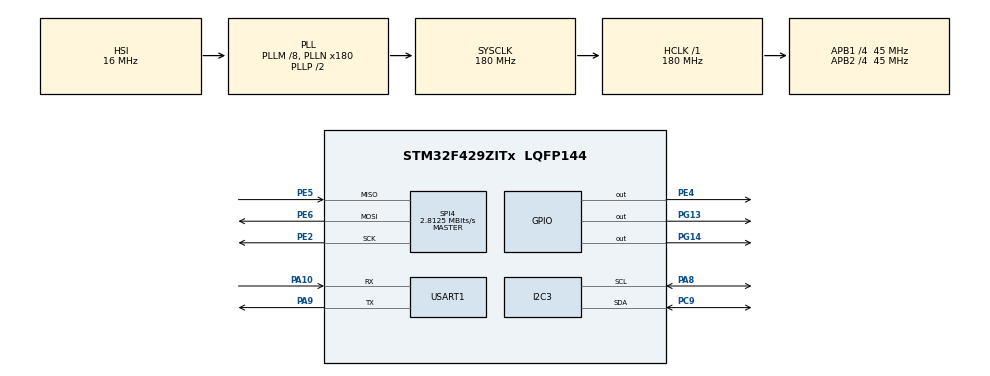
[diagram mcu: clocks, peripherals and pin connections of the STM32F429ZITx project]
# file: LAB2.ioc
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I2C3.I2C_Mode=I2C_Fast
Mcu.Family=STM32F4
Mcu.Name=STM32F429ZITx
Mcu.Package=LQFP144
NVIC.PriorityGroup=NVIC_PRIORITYGROUP_4
NVIC.TIM6_DAC_IRQn=true\:0\:0\:false\:false\:true\:true\:true\:true
NVIC.USART1_IRQn=true\:0\:0\:false\:false\:true\:true\:true\:true
PA10.Mode=Asynchronous
PA10.Signal=USART1_RX
PA8.Mode=I2C
PA8.Signal=I2C3_SCL
PA9.Mode=Asynchronous
PA9.Signal=USART1_TX
PC9.Mode=I2C
PC9.Signal=I2C3_SDA
PE2.Mode=Full_Duplex_Master
PE2.Signal=SPI4_SCK
PE4.Signal=GPIO_Output
PE5.Mode=Full_Duplex_Master
PE5.Signal=SPI4_MISO
PE6.Mode=Full_Duplex_Master
PE6.Signal=SPI4_MOSI
PG13.Signal=GPIO_Output
PG14.Signal=GPIO_Output
PH0/OSC_IN.Mode=HSE-External-Oscillator
PH0/OSC_IN.Signal=RCC_OSC_IN
PH1/OSC_OUT.Mode=HSE-External-Oscillator
PH1/OSC_OUT.Signal=RCC_OSC_OUT
ProjectManager.HeapSize=0x200
ProjectManager.StackSize=0x400
ProjectManager.TargetToolchain=STM32CubeIDE
RCC.48MHZClocksFreq_Value=90000000
RCC.AHBFreq_Value=180000000
RCC.APB1CLKDivider=RCC_HCLK_DIV4
RCC.APB1Freq_Value=45000000
RCC.APB1TimFreq_Value=90000000
RCC.APB2CLKDivider=RCC_HCLK_DIV4
RCC.APB2Freq_Value=45000000
RCC.APB2TimFreq_Value=90000000
RCC.CortexFreq_Value=180000000
RCC.HCLKFreq_Value=180000000
RCC.HSE_VALUE=8000000
RCC.HSI_VALUE=16000000
RCC.LSE_VALUE=32768
RCC.PLLM=8
RCC.PLLN=180
RCC.SYSCLKFreq_VALUE=180000000
RCC.SYSCLKSource=RCC_SYSCLKSOURCE_PLLCLK
RCC.VCOOutputFreq_Value=360000000
SPI4.BaudRatePrescaler=SPI_BAUDRATEPRESCALER_16
SPI4.CalculateBaudRate=2.8125 MBits/s
SPI4.Direction=SPI_DIRECTION_2LINES
SPI4.Mode=SPI_MODE_MASTER
SPI4.VirtualType=VM_MASTER
TIM6.Period=99
TIM6.Prescaler=89
USART1.VirtualMode=VM_ASYNC
VP_TIM6_VS_ClockSourceINT.Mode=Enable_Timer
board=custom

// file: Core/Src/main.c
/* USER CODE BEGIN Header */
/**
  ******************************************************************************
  * @file           : main.c
  * @brief          : Main program body
  ******************************************************************************
  * @attention
  *
  * Copyright (c) 2025 STMicroelectronics.
  * All rights reserved.
  *
  * This software is licensed under terms that can be found in the LICENSE file
  * in the root directory of this software component.
  * If no LICENSE file comes with this software, it is provided AS-IS.
  *
  ******************************************************************************
  */
/* USER CODE END Header */
#include "main.h"

I2C_HandleTypeDef hi2c3;

SPI_HandleTypeDef hspi4;

TIM_HandleTypeDef htim6;

UART_HandleTypeDef huart1;

/* USER CODE BEGIN PV */
int time6_count = 0;
int data_receive_flag = 0;
char cmdBuffer[100];
char recByte;
int cmdIndex = 0;

/* USER CODE END PV */

void SystemClock_Config(void);
static void MX_GPIO_Init(void);
static void MX_I2C3_Init(void);
static void MX_SPI4_Init(void);
static void MX_USART1_UART_Init(void);
static void MX_TIM6_Init(void);

/* USER CODE BEGIN 0 */

struct Time{
uint8_t sec;
uint8_t min;
uint8_t hour;
uint8_t weekday;
uint8_t day;
uint8_t month;
uint8_t year;
};

typedef struct Time Time;
//

void SetTime(Time timeSet){
	HAL_I2C_Mem_Write(&hi2c3, 0xD0, 0, 1, (uint8_t *)&timeSet, 7, 1000);
}

Time GetTime(){
	Time timeGet;
	HAL_I2C_Mem_Read(&hi2c3, 0xD1, 0, 1, (uint8_t *)&timeGet, 7, 1000);
	return timeGet;
}

void DisplayCardID(uint8_t *CardID){
	char buff[100];
	memset(buff,0,sizeof(buff));
	sprintf(buff,"%02d%02d%02d%02d%02d\n",
		CardID[0],CardID[1],CardID[2],CardID[3],CardID[4]
	);
	SH1106_GotoXY (12,10); // goto 10, 10
	SH1106_Puts(buff, &Font_11x18, 1);
	SH1106_UpdateScreen(); // update screen
}

void Display(char* str){
		SH1106_Clear();
		SH1106_GotoXY (12,10); // goto 10, 10
		SH1106_Puts(str, &Font_11x18, 1);
		SH1106_UpdateScreen(); // update screen
}

void DisplayTime(Time time){
	static char buf[100];
	memset(buf,0,sizeof(buf));
	sprintf(buf,"%02d:%02d:%02d-%02d-%02d/%02d/%02d \n",
	time.hour,
	time.min,
	time.sec,
	time.weekday,
	time.day,
	time.month,
	time.year);
	SH1106_GotoXY (12,10); // goto 10, 10
	SH1106_Puts(buf, &Font_11x18, 1);
	SH1106_UpdateScreen(); // update screen
}

void TestDS1307()
{
char buff[30];
Time Set_time, Get_Time;
Set_time.sec = 10;
Set_time.min = 30;
Set_time.hour = 7;
Set_time.day = 9;
Set_time.month = 11;
Set_time.year = 24;
Set_time.weekday = 0;
//write time to DS1307
HAL_I2C_Mem_Write(&hi2c3, 0xD0, 0, 1, (uint8_t *)&Set_time, 7, 1000);
while (1) {
//read time back
HAL_I2C_Mem_Read(&hi2c3, 0xD1, 0, 1, (uint8_t *)&Get_Time, 7, 1000);
sprintf(buff,"%02d:%02d:%02d-%02d-%02d/%02d/%02d \n",
Get_Time.hour,
Get_Time.min,
Get_Time.sec,
Get_Time.weekday,
Get_Time.day,
Get_Time.month,
Get_Time.year);
HAL_UART_Transmit(&huart1, buff, strlen(buff), 1000);
HAL_Delay(500);
}
}

void HAL_UART_RxCpltCallback(UART_HandleTypeDef *huart)
{
    if (huart->Instance == USART1) {
        if(recByte != 'm'){
        	cmdBuffer[cmdIndex++] = recByte;
        }
        else{
        	cmdBuffer[cmdIndex] = 0;
        	cmdIndex = 0;
        	data_receive_flag = 1;
        }
        HAL_UART_Receive_IT(&huart1, (uint8_t*)&recByte, 1);
    }
}

Time time1;

/* USER CODE END 0 */

int main(void)
{

  /* USER CODE BEGIN 1 */
	char logs[100][100];
	char cardList[100][100];
	int numCard = 0;
	int numLog = 0;

  /* USER CODE END 1 */

  /* MCU Configuration--------------------------------------------------------*/

  /* Reset of all peripherals, Initializes the Flash interface and the Systick. */
  HAL_Init();

  /* Configure the system clock */
  SystemClock_Config();

  /* Initialize all configured peripherals */
  MX_GPIO_Init();
  MX_I2C3_Init();
  MX_SPI4_Init();
  MX_USART1_UART_Init();
  MX_TIM6_Init();
  /* USER CODE BEGIN 2 */
//  TestDS1307();                      asdfsdf

//  char buf[100];
//  uint8_t X = 0, Y = 0;
//  SH1106_Init ();
//  sprintf (buf, "%s", "RC522 RFID");
//  SH1106_GotoXY (12,10); // goto 10, 10
//  SH1106_Puts(buf, &Font_11x18, 1);
//  SH1106_UpdateScreen(); // update screen
//  HAL_Delay(1000);

  HAL_TIM_Base_Start_IT(&htim6);

  /* USER CODE END 2 */

  /* Infinite loop */
  /* USER CODE BEGIN WHILE */
  SH1106_Init();

  Time currentTime;
  currentTime.year = 2025;
  currentTime.weekday = 00;
  currentTime.month = 05;
  currentTime.day = 17;
  currentTime.hour = 13;
  currentTime.min = 46;
  currentTime.sec = 0;

  SetTime(currentTime);

  HAL_UART_Receive_IT(&huart1, (uint8_t*)&recByte, 1);
//  TestDS1307();
  TM_MFRC522_Init();

  while (1)
  {

//	  Time timee = GetTime();
//	  char buff[1024] = {0};
//	  sprintf(buff,"%02d:%02d:%02d-%02d-%02d/%02d/%02d \n",
//			  timee.hour,
//			  timee.min,
//			  timee.sec,
//			  timee.weekday,
//			  timee.day,
//			  timee.month,
//			  timee.year);
//	  HAL_UART_Transmit(&huart1, buff, strlen(buff), 1000);
//		time1 = GetTime();
//		DisplayTime(time1);

//	  HAL_Delay(500);

//	  char buf[100] = {0};
//	  uint8_t CardID[5];
//	  HAL_Delay(500);
////	  HAL_GPIO_WritePin(GPIOE, GPIO_PIN_4, GPIO_PIN_RESET);
//	  if(TM_MFRC522_Check(CardID) == MI_OK){
//		  SH1106_Clear();
////		  sprintf(buf,"%s","Found!\r\n");
////			SH1106_GotoXY (12,10); // goto 10, 10
////			SH1106_Puts(buf, &Font_11x18, 1);
////			SH1106_UpdateScreen(); // update screen
//
//			DisplayCardID(CardID);
//
//	  }
//	  else{
//		  sprintf(buf,"%s","Not Found!\r\n");
//			SH1106_GotoXY (12,10); // goto 10, 10
//			SH1106_Puts(buf, &Font_11x18, 1);
//			SH1106_UpdateScreen(); // update screen
//	  }

//	  SH1106_Clear();
	  uint8_t CardID[5];
	  HAL_Delay(100);
	  if(TM_MFRC522_Check(CardID) == MI_OK){
		  HAL_GPIO_WritePin(GPIOG, GPIO_PIN_13, GPIO_PIN_SET);
		  char cardID[11] = {0};
		  sprintf(cardID,"%d%d%d%d%d",CardID[0],CardID[1],CardID[2],CardID[3],CardID[4]);
		  int flag = 0;
		  for(int i = 0; i< numCard;i++){
			  if(strcmp(cardList[i], cardID) == 0){ // strcmp??
				  flag = 1;
				  Display("Welcome");
				  char tmp[100] = {0};
				  struct Time time = GetTime();
				 sprintf(tmp,"%s %02d:%02d:%02d-%02d-%02d/%02d/%02d",
				 				  cardID,
				 				  time.hour,
				 				  time.min,
				 				  time.sec,
				 				  time.weekday,
				 				  time.day,
				 				  time.month,
				 				  time.year);
				 		  strcpy(logs[numLog++], tmp);
				  HAL_GPIO_WritePin(GPIOG, GPIO_PIN_14, GPIO_PIN_SET);
				  break;
			  }
		  }
		  if(flag == 0){

			  Display("Reject");
		  }

	  }
	  else{
		  HAL_GPIO_WritePin(GPIOG, GPIO_PIN_13, GPIO_PIN_RESET);
		  HAL_GPIO_WritePin(GPIOG, GPIO_PIN_14, GPIO_PIN_RESET);
	  }

	  if(data_receive_flag == 1){
		  if(strncmp(cmdBuffer,"add ",4) == 0){
			  char* cardIDAdd = cmdBuffer + 4;
			  int flag = 0;
			  char buff[100];
			  for(int i = 0; i< numCard;i++){
				  if(strcmp(cardList[i], cardIDAdd) == 0){ // strcmp??
					  flag = 1;
					  memset(buff,0,sizeof(buff));
					  sprintf(buff,"%s","Card ID has existed\n");
					  HAL_UART_Transmit(&huart1, buff, strlen(buff), 1000);
					  break;
				  }
			  }
			  if(flag == 0){
			      strcpy(cardList[numCard++], cardIDAdd);
				  memset(buff,0,sizeof(buff));
				  sprintf(buff,"%s","Add Card ID successfully!\n");
				  HAL_UART_Transmit(&huart1, buff, strlen(buff), 1000);
			  }
		  }
		  else if(strncmp(cmdBuffer,"list log",8) == 0){
			  for(int i = 0; i < numLog; i++){
				  HAL_UART_Transmit(&huart1, logs[i], strlen(logs[i]), 1000);
				  HAL_UART_Transmit(&huart1, "\n", 1, 1000);
			  }
		  }

		  data_receive_flag = 0;
	  }

    /* USER CODE END WHILE */

  }
}

void SystemClock_Config(void)
{
  RCC_OscInitTypeDef RCC_OscInitStruct = {0};
  RCC_ClkInitTypeDef RCC_ClkInitStruct = {0};

  /** Configure the main internal regulator output voltage
  */
  __HAL_RCC_PWR_CLK_ENABLE();
  __HAL_PWR_VOLTAGESCALING_CONFIG(PWR_REGULATOR_VOLTAGE_SCALE1);

  /** Initializes the RCC Oscillators according to the specified parameters
  * in the RCC_OscInitTypeDef structure.
  */
  RCC_OscInitStruct.OscillatorType = RCC_OSCILLATORTYPE_HSI;
  RCC_OscInitStruct.HSIState = RCC_HSI_ON;
  RCC_OscInitStruct.HSICalibrationValue = RCC_HSICALIBRATION_DEFAULT;
  RCC_OscInitStruct.PLL.PLLState = RCC_PLL_ON;
  RCC_OscInitStruct.PLL.PLLSource = RCC_PLLSOURCE_HSI;
  RCC_OscInitStruct.PLL.PLLM = 8;
  RCC_OscInitStruct.PLL.PLLN = 180;
  RCC_OscInitStruct.PLL.PLLP = RCC_PLLP_DIV2;
  RCC_OscInitStruct.PLL.PLLQ = 4;
  if (HAL_RCC_OscConfig(&RCC_OscInitStruct) != HAL_OK)
  {
    Error_Handler();
  }

  /** Activate the Over-Drive mode
  */
  if (HAL_PWREx_EnableOverDrive() != HAL_OK)
  {
    Error_Handler();
  }

  /** Initializes the CPU, AHB and APB buses clocks
  */
  RCC_ClkInitStruct.ClockType = RCC_CLOCKTYPE_HCLK|RCC_CLOCKTYPE_SYSCLK
                              |RCC_CLOCKTYPE_PCLK1|RCC_CLOCKTYPE_PCLK2;
  RCC_ClkInitStruct.SYSCLKSource = RCC_SYSCLKSOURCE_PLLCLK;
  RCC_ClkInitStruct.AHBCLKDivider = RCC_SYSCLK_DIV1;
  RCC_ClkInitStruct.APB1CLKDivider = RCC_HCLK_DIV4;
  RCC_ClkInitStruct.APB2CLKDivider = RCC_HCLK_DIV4;

  if (HAL_RCC_ClockConfig(&RCC_ClkInitStruct, FLASH_LATENCY_5) != HAL_OK)
  {
    Error_Handler();
  }
}

static void MX_I2C3_Init(void)
{

  hi2c3.Instance = I2C3;
  hi2c3.Init.ClockSpeed = 400000;
  hi2c3.Init.DutyCycle = I2C_DUTYCYCLE_2;
  hi2c3.Init.OwnAddress1 = 0;
  hi2c3.Init.AddressingMode = I2C_ADDRESSINGMODE_7BIT;
  hi2c3.Init.DualAddressMode = I2C_DUALADDRESS_DISABLE;
  hi2c3.Init.OwnAddress2 = 0;
  hi2c3.Init.GeneralCallMode = I2C_GENERALCALL_DISABLE;
  hi2c3.Init.NoStretchMode = I2C_NOSTRETCH_DISABLE;
  if (HAL_I2C_Init(&hi2c3) != HAL_OK)
  {
    Error_Handler();
  }

  /** Configure Analogue filter
  */
  if (HAL_I2CEx_ConfigAnalogFilter(&hi2c3, I2C_ANALOGFILTER_ENABLE) != HAL_OK)
  {
    Error_Handler();
  }

  /** Configure Digital filter
  */
  if (HAL_I2CEx_ConfigDigitalFilter(&hi2c3, 0) != HAL_OK)
  {
    Error_Handler();
  }

}

static void MX_SPI4_Init(void)
{

  /* SPI4 parameter configuration*/
  hspi4.Instance = SPI4;
  hspi4.Init.Mode = SPI_MODE_MASTER;
  hspi4.Init.Direction = SPI_DIRECTION_2LINES;
  hspi4.Init.DataSize = SPI_DATASIZE_8BIT;
  hspi4.Init.CLKPolarity = SPI_POLARITY_LOW;
  hspi4.Init.CLKPhase = SPI_PHASE_1EDGE;
  hspi4.Init.NSS = SPI_NSS_SOFT;
  hspi4.Init.BaudRatePrescaler = SPI_BAUDRATEPRESCALER_16;
  hspi4.Init.FirstBit = SPI_FIRSTBIT_MSB;
  hspi4.Init.TIMode = SPI_TIMODE_DISABLE;
  hspi4.Init.CRCCalculation = SPI_CRCCALCULATION_DISABLE;
  hspi4.Init.CRCPolynomial = 10;
  if (HAL_SPI_Init(&hspi4) != HAL_OK)
  {
    Error_Handler();
  }

}

static void MX_TIM6_Init(void)
{

  TIM_MasterConfigTypeDef sMasterConfig = {0};

  htim6.Instance = TIM6;
  htim6.Init.Prescaler = 89;
  htim6.Init.CounterMode = TIM_COUNTERMODE_UP;
  htim6.Init.Period = 99;
  htim6.Init.AutoReloadPreload = TIM_AUTORELOAD_PRELOAD_DISABLE;
  if (HAL_TIM_Base_Init(&htim6) != HAL_OK)
  {
    Error_Handler();
  }
  sMasterConfig.MasterOutputTrigger = TIM_TRGO_RESET;
  sMasterConfig.MasterSlaveMode = TIM_MASTERSLAVEMODE_DISABLE;
  if (HAL_TIMEx_MasterConfigSynchronization(&htim6, &sMasterConfig) != HAL_OK)
  {
    Error_Handler();
  }

}

static void MX_USART1_UART_Init(void)
{

  huart1.Instance = USART1;
  huart1.Init.BaudRate = 115200;
  huart1.Init.WordLength = UART_WORDLENGTH_8B;
  huart1.Init.StopBits = UART_STOPBITS_1;
  huart1.Init.Parity = UART_PARITY_NONE;
  huart1.Init.Mode = UART_MODE_TX_RX;
  huart1.Init.HwFlowCtl = UART_HWCONTROL_NONE;
  huart1.Init.OverSampling = UART_OVERSAMPLING_16;
  if (HAL_UART_Init(&huart1) != HAL_OK)
  {
    Error_Handler();
  }

}

static void MX_GPIO_Init(void)
{
  GPIO_InitTypeDef GPIO_InitStruct = {0};

  /* GPIO Ports Clock Enable */
  __HAL_RCC_GPIOE_CLK_ENABLE();
  __HAL_RCC_GPIOH_CLK_ENABLE();
  __HAL_RCC_GPIOC_CLK_ENABLE();
  __HAL_RCC_GPIOA_CLK_ENABLE();
  __HAL_RCC_GPIOG_CLK_ENABLE();

  /*Configure GPIO pin Output Level */
  HAL_GPIO_WritePin(GPIOE, GPIO_PIN_4, GPIO_PIN_RESET);

  /*Configure GPIO pin Output Level */
  HAL_GPIO_WritePin(GPIOG, GPIO_PIN_13|GPIO_PIN_14, GPIO_PIN_RESET);

  /*Configure GPIO pin : PE4 */
  GPIO_InitStruct.Pin = GPIO_PIN_4;
  GPIO_InitStruct.Mode = GPIO_MODE_OUTPUT_PP;
  GPIO_InitStruct.Pull = GPIO_NOPULL;
  GPIO_InitStruct.Speed = GPIO_SPEED_FREQ_LOW;
  HAL_GPIO_Init(GPIOE, &GPIO_InitStruct);

  /*Configure GPIO pins : PG13 PG14 */
  GPIO_InitStruct.Pin = GPIO_PIN_13|GPIO_PIN_14;
  GPIO_InitStruct.Mode = GPIO_MODE_OUTPUT_PP;
  GPIO_InitStruct.Pull = GPIO_NOPULL;
  GPIO_InitStruct.Speed = GPIO_SPEED_FREQ_LOW;
  HAL_GPIO_Init(GPIOG, &GPIO_InitStruct);

}

void Error_Handler(void)
{
  __disable_irq();
  while (1)
  {
  }
}
